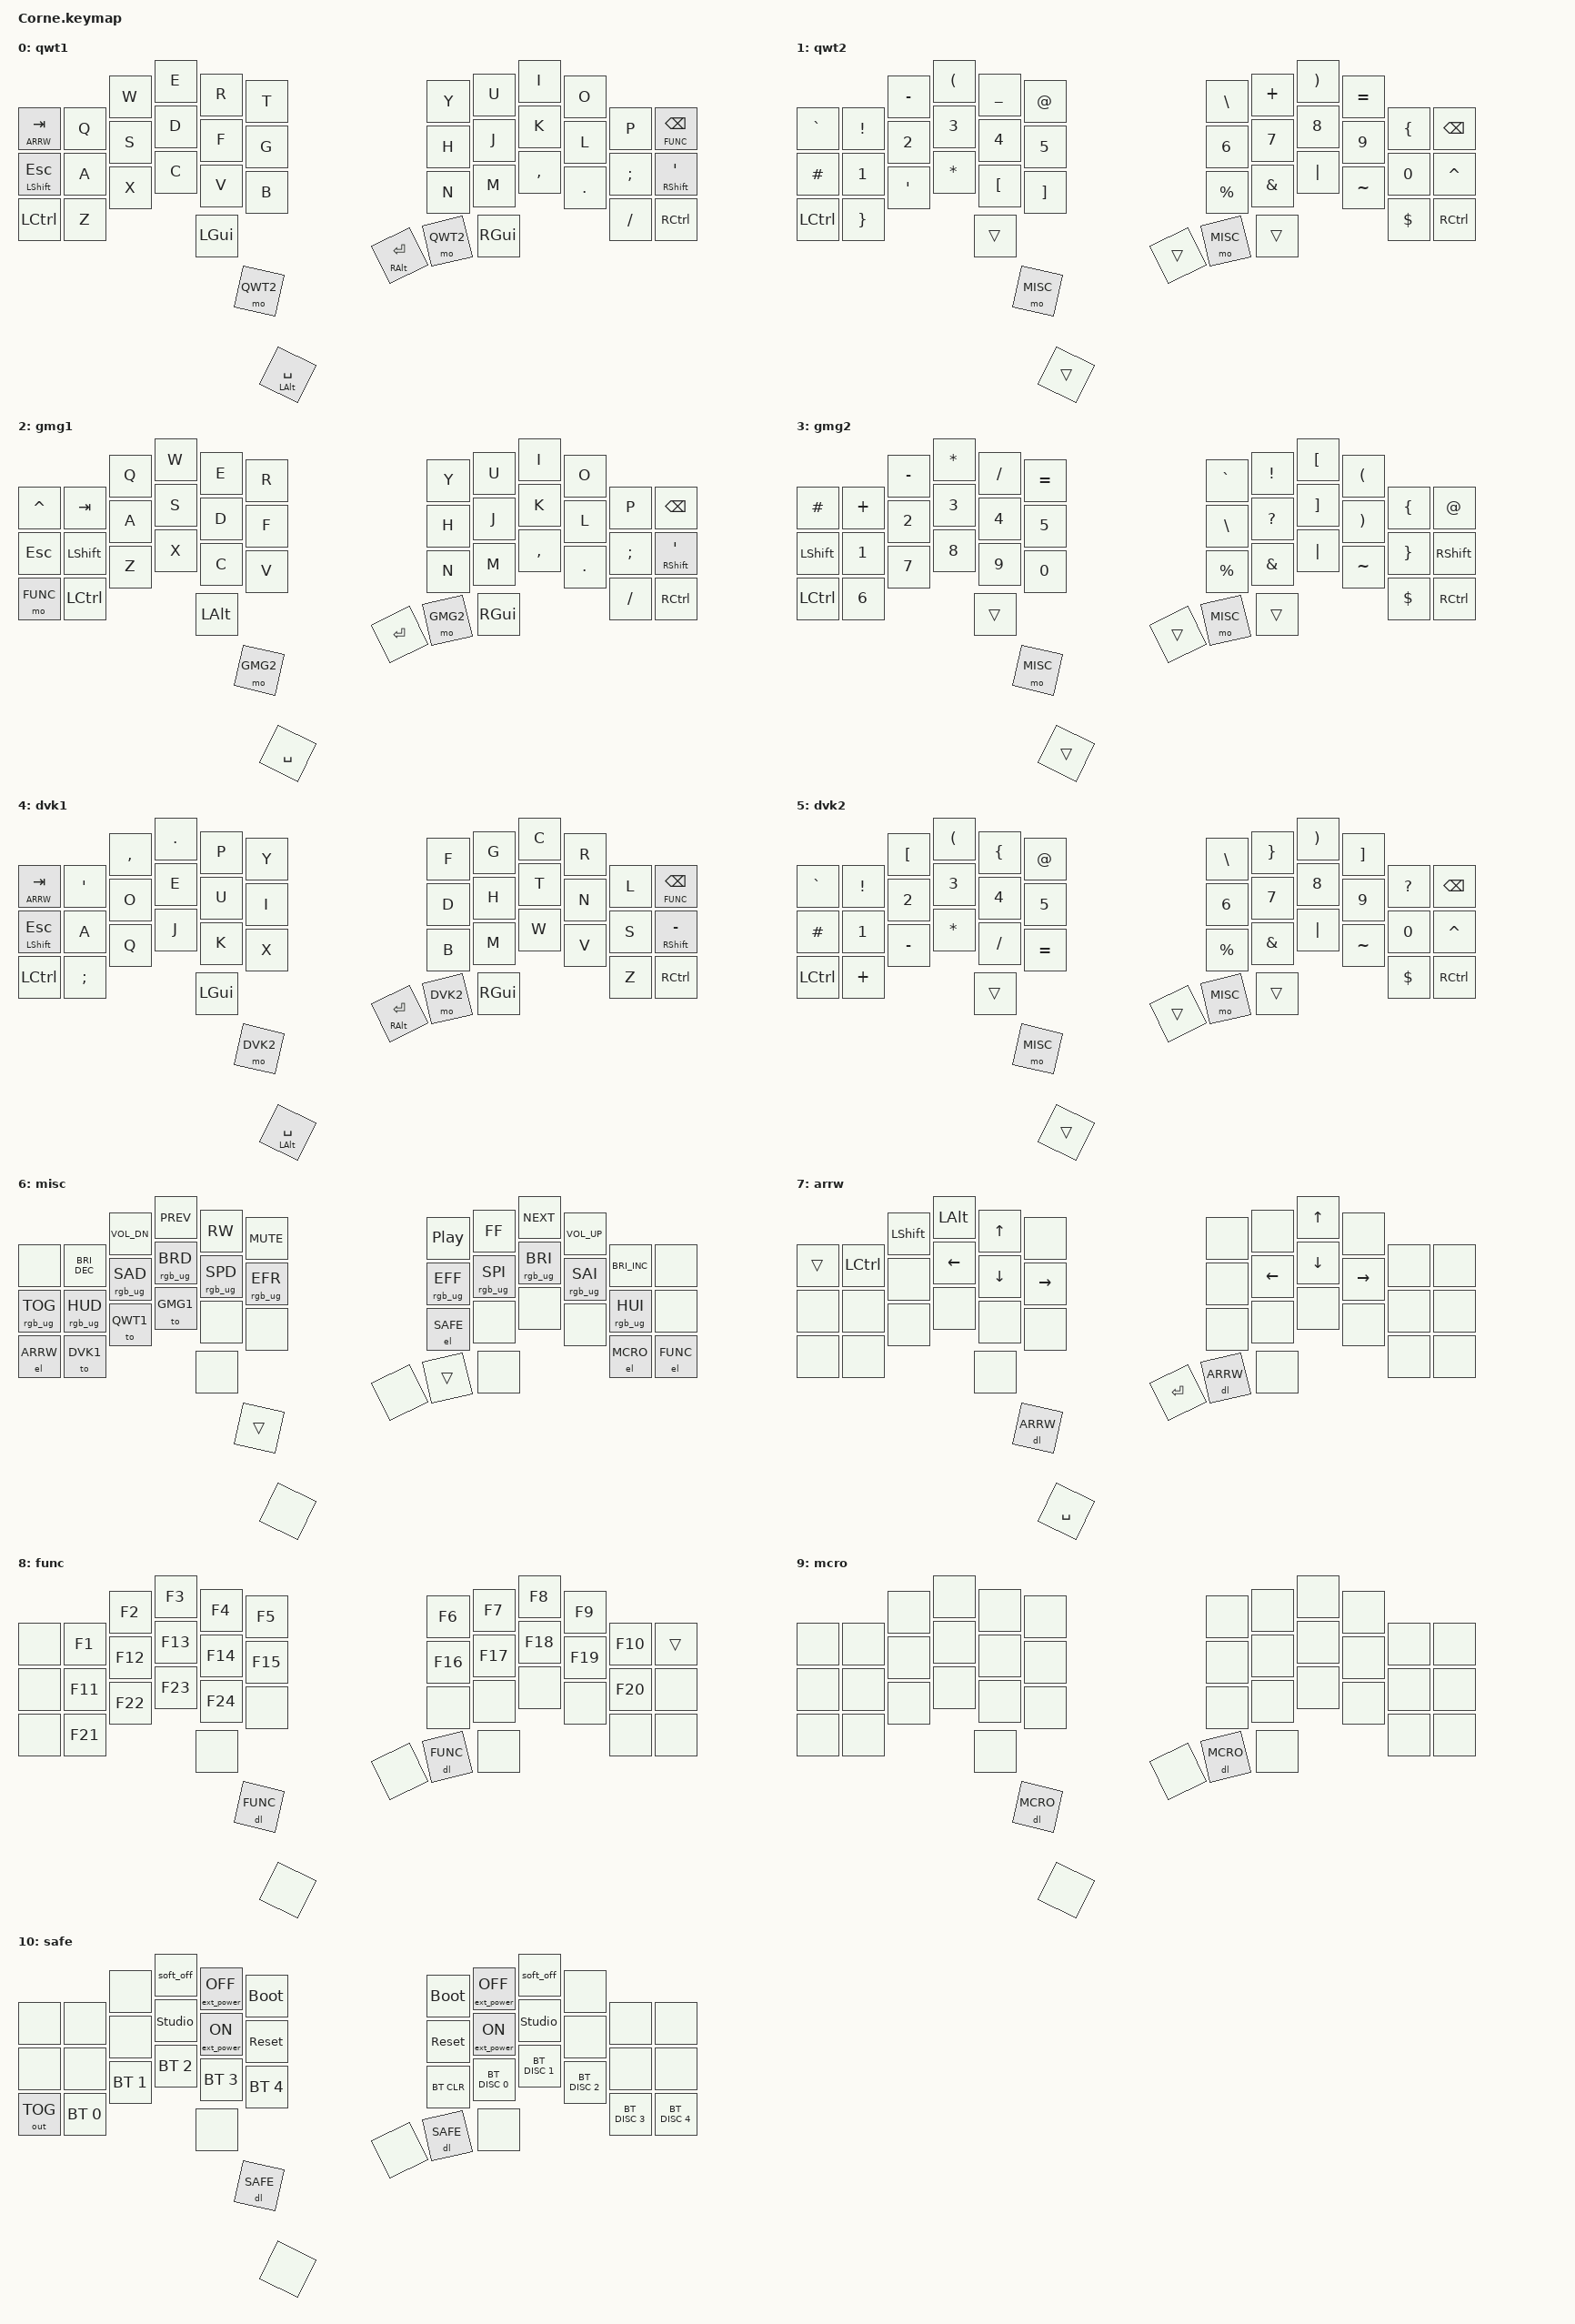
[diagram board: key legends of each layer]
#include <behaviors.dtsi>
#include <dt-bindings/zmk/keys.h>
#include <dt-bindings/zmk/bt.h>
#include <dt-bindings/zmk/outputs.h>
#include <dt-bindings/zmk/ext_power.h>
#include <dt-bindings/zmk/rgb.h>

//Row 1: 0  1  2  3  4  5    |  6  7  8  9  10 11
//Row 2: 12 13 14 15 16 17   |  18 19 20 21 22 23
//Row 3: 24 25 26 27 28 29   |  30 31 32 33 34 35
//Thumbs:      36 37 38      |     39 40 41


#define QWT1 0
#define QWT2 1
#define GMG1 2
#define GMG2 3
#define DVK1 4
#define DVK2 5
#define MISC 6
#define ARRW 7
#define FUNC 8
#define MCRO 9
#define SAFE 10

/ {
	soft_off {
		hold-time-ms = <2000>;
	};

	behaviors {
		el: enable_layer {
			compatible = "zmk,behavior-toggle-layer";
			#binding-cells = <1>;
			display-name = "Enable Layer";
			toggle-mode = "on";
			//locking;
		};
		dl: disable_layer {
			compatible = "zmk,behavior-toggle-layer";
			#binding-cells = <1>;
			display-name = "Disable Layer";
			toggle-mode = "off";
			//locking;
		};
	};

	combos {
		compatible = "zmk,combos";
	};

	keymap {
		compatible = "zmk,keymap";

		qwt1 {
			display-name = "qwt1";
			bindings = <
				&lt ARRW TAB	&kp Q &kp W &kp E &kp R &kp T &kp Y &kp U &kp I			&kp O		&kp P			&lt FUNC BSPC
				&mt LSHFT	ESC	&kp A &kp S &kp D &kp F &kp G &kp H &kp J &kp K			&kp L		&kp SEMI	&mt RSHFT SQT
				&kp LCTRL			&kp Z &kp X &kp C &kp V &kp B &kp N &kp M &kp COMMA &kp DOT	&kp FSLH	&kp RCTRL
				&kp LGUI &mo QWT2	&mt LALT SPACE &mt RALT RET	&mo QWT2 &kp RGUI
			>;
		};

		qwt2 {
			display-name = "qwt2";
			bindings = <
				&kp GRAVE	&kp EXCL &kp MINUS	&kp LPAR	&kp UNDER	&kp AT
				&kp BSLH 	&kp PLUS &kp RPAR		&kp EQUAL &kp LBRC	&kp BSPC

				&kp HASH &kp N1	&kp N2 &kp N3 &kp N4 &kp N5
				&kp N6 &kp N7 &kp N8 &kp N9 &kp N0 &kp CARET

				&kp LCTRL &kp RBRC	&kp SQT		&kp STAR	&kp LBKT &kp RBKT
				&kp PRCNT	&kp AMPS	&kp PIPE	&kp TILDE &kp DLLR &kp RCTRL

				&trans &mo MISC &trans &trans &mo MISC &trans
			>;
		};

		gmg1 {
			display-name = "gmg1";
			bindings = <
				&kp CARET	&kp TAB		&kp Q &kp W &kp E &kp R		&kp Y &kp U &kp I			&kp O		&kp P			&kp BSPC
				&kp ESC		&kp LSHFT	&kp A &kp S &kp D &kp F		&kp H &kp J &kp K			&kp L		&kp SEMI	&mt RSHFT SQT
				&mo FUNC	&kp LCTRL	&kp Z &kp X &kp C &kp V		&kp N &kp M &kp COMMA	&kp DOT	&kp FSLH	&kp RCTRL
				&kp LALT	&mo GMG2	&kp SPACE									&kp RET	&mo GMG2 &kp RGUI
			>;
		};

		gmg2 {
			display-name = "gmg2";
			bindings = <
				&kp HASH	&kp PLUS	&kp MINUS &kp STAR	&kp SLASH &kp EQUAL
				&kp GRAVE	&kp EXCL	&kp LBKT	&kp LPAR	&kp LBRC	&kp AT

				&kp LSHFT	&kp N1		&kp N2		&kp N3		&kp N4		&kp N5
				&kp BSLH	&kp QMARK	&kp RBKT	&kp RPAR	&kp RBRC	&kp RSHFT

				&kp LCTRL &kp N6		&kp N7		&kp N8		&kp N9		&kp N0
				&kp PRCNT	&kp AMPS	&kp PIPE	&kp TILDE &kp DLLR	&kp RCTRL

				&trans &mo MISC &trans &trans &mo MISC &trans
			>;
		};

		dvk1 {
			display-name = "dvk1";
			bindings = <
				&lt ARRW TAB	&kp SQT		&kp COMMA	&kp DOT &kp P &kp Y &kp F &kp G &kp C &kp R &kp L &lt FUNC BSPC
				&mt LSHFT	ESC	&kp A			&kp O			&kp E		&kp U &kp I &kp D &kp H &kp T &kp N &kp S &mt RSHFT MINUS
				&kp LCTRL			&kp SEMI	&kp Q			&kp J		&kp K &kp X &kp B &kp M &kp W &kp V &kp Z &kp RCTRL
				&kp LGUI &mo DVK2	&mt LALT SPACE &mt RALT RET	&mo DVK2 &kp RGUI
			>;
		};

		dvk2 {
			display-name = "dvk2";
			bindings = <
				&kp GRAVE	&kp EXCL	&kp LBKT	&kp LPAR &kp LBRC &kp AT
				&kp BSLH	&kp RBRC	&kp RPAR	&kp RBKT &kp QMARK &kp BSPC

				&kp HASH	&kp N1	&kp N2 &kp N3 &kp N4	&kp N5
				&kp N6		&kp N7	&kp N8 &kp N9 &kp N0	&kp CARET

				&kp LCTRL &kp PLUS	&kp MINUS &kp STAR	&kp SLASH &kp EQUAL
				&kp PRCNT	&kp AMPS	&kp PIPE	&kp TILDE &kp DLLR	&kp RCTRL

				&trans &mo MISC &trans &trans &mo MISC &trans
			>;
		};

		misc {
			display-name = "misc";
			bindings = <
				&none	&kp C_BRI_DEC &kp C_VOL_DN	&kp C_PREV		&kp C_RW			&kp C_MUTE
				&kp C_PP	&kp C_FF			&kp C_NEXT		&kp C_VOL_UP	&kp C_BRI_INC	&none

				&rgb_ug RGB_TOG	&rgb_ug RGB_HUD	&rgb_ug RGB_SAD	&rgb_ug RGB_BRD	&rgb_ug RGB_SPD	&rgb_ug RGB_EFR
				&rgb_ug RGB_EFF	&rgb_ug RGB_SPI	&rgb_ug RGB_BRI	&rgb_ug RGB_SAI	&rgb_ug RGB_HUI &none

				&el ARRW	&to DVK1	&to QWT1	&to GMG1	&none			&none
				&el SAFE	&none			&none			&none			&el MCRO	&el FUNC

				&none &trans &none &none	&trans &none
			>;
		};

		arrw {
			display-name = "arrw";
			bindings = <
				&trans	&kp LCTRL &kp LSHFT &kp LALT	&kp UP		&none			&none &none		&kp UP		&none			&none &none
				&none		&none			&none			&kp LEFT	&kp DOWN	&kp RIGHT	&none &kp LEFT &kp DOWN	&kp RIGHT &none &none
				&none		&none			&none			&none			&none			&none			&none &none		&none			&none			&none &none
				&none &dl ARRW &kp SPACE &kp RET &dl ARRW &none
			>;
		};

		func {
			display-name = "func";
			bindings = <
				&none &kp F1	&kp F2	&kp F3	&kp F4	&kp F5	&kp F6	&kp F7	&kp F8	&kp F9	&kp F10 &trans
				&none &kp F11 &kp F12 &kp F13 &kp F14 &kp F15 &kp F16 &kp F17 &kp F18 &kp F19 &kp F20 &none
				&none &kp F21 &kp F22 &kp F23 &kp F24 &none		&none		&none		&none		&none		&none		&none
				&none &dl FUNC &none &none &dl FUNC &none
			>;
		};

		mcro {
			display-name = "mcro";
			bindings = <
				&none	&none &none &none &none &none  &none &none &none &none &none &none
				&none	&none	&none	&none &none &none  &none &none &none &none &none &none
				&none	&none	&none	&none	&none &none  &none &none &none &none &none &none
				&none &dl MCRO &none &none &dl MCRO &none
			>;
		};

		safe {
			display-name = "safe";
			bindings = <
				&none				&none							&none			&soft_off	&ext_power EP_OFF &bootloader
				&bootloader &ext_power EP_OFF	&soft_off &none			&none							&none

				&none				&none							&none						&studio_unlock	&ext_power EP_ON	&sys_reset
				&sys_reset	&ext_power EP_ON	&studio_unlock	&none						&none							&none

				&out OUT_TOG	&bt BT_SEL 0	&bt BT_SEL 1	&bt BT_SEL 2 &bt BT_SEL 3	&bt BT_SEL 4
				&bt BT_CLR	&bt BT_DISC 0 &bt BT_DISC 1 &bt BT_DISC 2 &bt BT_DISC 3 &bt BT_DISC 4

				&none	&dl SAFE &none &none &dl SAFE &none
			>;
		};

		tst1 {
			display-name = "tst1";
			status = "reserved";
		};

		tst2 {
			display-name = "tst2";
			status = "reserved";
		};

		tst3 {
			display-name = "tst3";
			status = "reserved";
		};

		tst4 {
			display-name = "tst4";
			status = "reserved";
		};

		tst5 {
			display-name = "tst5";
			status = "reserved";
		};

	};
};
